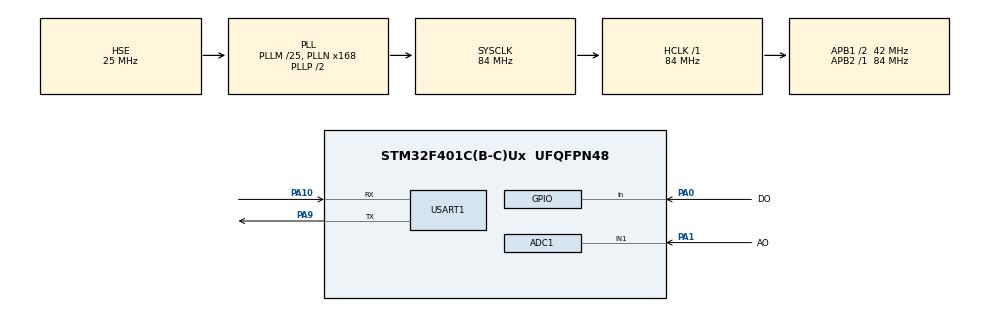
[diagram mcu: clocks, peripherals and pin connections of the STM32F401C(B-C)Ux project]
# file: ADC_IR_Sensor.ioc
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ADC1.Channel-0\#ChannelRegularConversion=ADC_CHANNEL_1
ADC1.ContinuousConvMode=ENABLE
ADC1.EOCSelection=ADC_EOC_SEQ_CONV
ADC1.NbrOfConversionFlag=1
ADC1.Rank-0\#ChannelRegularConversion=1
ADC1.SamplingTime-0\#ChannelRegularConversion=ADC_SAMPLETIME_480CYCLES
ADC1.master=1
Mcu.Family=STM32F4
Mcu.Name=STM32F401C(B-C)Ux
Mcu.Package=UFQFPN48
NVIC.PriorityGroup=NVIC_PRIORITYGROUP_4
PA0-WKUP.GPIO_Label=DO
PA0-WKUP.Signal=GPIO_Input
PA1.GPIO_Label=AO
PA1.Signal=ADCx_IN1
PA10.Mode=Asynchronous
PA10.Signal=USART1_RX
PA13.Mode=Serial_Wire
PA13.Signal=SYS_JTMS-SWDIO
PA14.Mode=Serial_Wire
PA14.Signal=SYS_JTCK-SWCLK
PA9.Mode=Asynchronous
PA9.Signal=USART1_TX
PH0\ -\ OSC_IN.Mode=HSE-External-Oscillator
PH0\ -\ OSC_IN.Signal=RCC_OSC_IN
PH1\ -\ OSC_OUT.Mode=HSE-External-Oscillator
PH1\ -\ OSC_OUT.Signal=RCC_OSC_OUT
ProjectManager.HeapSize=0x200
ProjectManager.StackSize=0x400
ProjectManager.TargetToolchain=STM32CubeIDE
RCC.48MHZClocksFreq_Value=42000000
RCC.AHBFreq_Value=84000000
RCC.APB1CLKDivider=RCC_HCLK_DIV2
RCC.APB1Freq_Value=42000000
RCC.APB1TimFreq_Value=84000000
RCC.APB2Freq_Value=84000000
RCC.APB2TimFreq_Value=84000000
RCC.CortexFreq_Value=84000000
RCC.HCLKFreq_Value=84000000
RCC.HSE_VALUE=25000000
RCC.HSI_VALUE=16000000
RCC.LSE_VALUE=32768
RCC.PLLM=25
RCC.PLLN=168
RCC.PLLSourceVirtual=RCC_PLLSOURCE_HSE
RCC.SYSCLKFreq_VALUE=84000000
RCC.SYSCLKSource=RCC_SYSCLKSOURCE_PLLCLK
RCC.VCOOutputFreq_Value=168000000
SH.ADCx_IN1.0=ADC1_IN1,IN1
USART1.VirtualMode=VM_ASYNC
board=custom

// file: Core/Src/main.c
/* USER CODE BEGIN Header */
/**
  ******************************************************************************
  * @file           : main.c
  * @brief          : Main program body
  ******************************************************************************
  * @attention
  *
  * <h2><center>&copy; Copyright (c) 2021 STMicroelectronics.
  * All rights reserved.</center></h2>
  *
  * This software component is licensed by ST under BSD 3-Clause license,
  * the "License"; You may not use this file except in compliance with the
  * License. You may obtain a copy of the License at:
  *                        opensource.org/licenses/BSD-3-Clause
  *
  ******************************************************************************
  */
/* USER CODE END Header */
#include "main.h"

/* USER CODE BEGIN Includes */
#include <stdio.h>     // sprintf()
/* USER CODE END Includes */

/* USER CODE BEGIN PD */
#define ADC_MAX 4095   // 12-bit
#define V_REF 3.3      // 3.3V
/* USER CODE END PD */

ADC_HandleTypeDef hadc1;

UART_HandleTypeDef huart1;

/* USER CODE BEGIN PV */
uint16_t adcValue = 0;
float voltage = 0.0;
char msg[30] = {0};
/* USER CODE END PV */

void SystemClock_Config(void);
static void MX_GPIO_Init(void);
static void MX_ADC1_Init(void);
static void MX_USART1_UART_Init(void);

int main(void)
{

  /* MCU Configuration--------------------------------------------------------*/

  /* Reset of all peripherals, Initializes the Flash interface and the Systick. */
  HAL_Init();

  /* Configure the system clock */
  SystemClock_Config();

  /* Initialize all configured peripherals */
  MX_GPIO_Init();
  MX_ADC1_Init();
  MX_USART1_UART_Init();
  /* USER CODE BEGIN 2 */
  if (HAL_ADC_Start(&hadc1) != HAL_OK)
	Error_Handler();
  /* USER CODE END 2 */

  /* Infinite loop */
  while (1)
  {

    /* USER CODE BEGIN 3 */
	HAL_ADC_PollForConversion(&hadc1, 100);
	adcValue = HAL_ADC_GetValue(&hadc1);
	voltage = adcValue * V_REF / ADC_MAX;

	sprintf(msg, "ADC Value = %d    ", adcValue);
	HAL_UART_Transmit(&huart1, (uint8_t *)msg, sizeof(msg), HAL_MAX_DELAY);

	sprintf(msg, "Analog Output = %.2fV    ", voltage);
	HAL_UART_Transmit(&huart1, (uint8_t *)msg, sizeof(msg), HAL_MAX_DELAY);

	sprintf(msg, "Digital Output = %d\r\n", HAL_GPIO_ReadPin(DO_GPIO_Port, DO_Pin));
	HAL_UART_Transmit(&huart1, (uint8_t *)msg, sizeof(msg), HAL_MAX_DELAY);
	HAL_Delay(1000);
  }
  /* USER CODE END 3 */
}

void SystemClock_Config(void)
{
  RCC_OscInitTypeDef RCC_OscInitStruct = {0};
  RCC_ClkInitTypeDef RCC_ClkInitStruct = {0};

  /** Configure the main internal regulator output voltage
  */
  __HAL_RCC_PWR_CLK_ENABLE();
  __HAL_PWR_VOLTAGESCALING_CONFIG(PWR_REGULATOR_VOLTAGE_SCALE2);
  /** Initializes the RCC Oscillators according to the specified parameters
  * in the RCC_OscInitTypeDef structure.
  */
  RCC_OscInitStruct.OscillatorType = RCC_OSCILLATORTYPE_HSE;
  RCC_OscInitStruct.HSEState = RCC_HSE_ON;
  RCC_OscInitStruct.PLL.PLLState = RCC_PLL_ON;
  RCC_OscInitStruct.PLL.PLLSource = RCC_PLLSOURCE_HSE;
  RCC_OscInitStruct.PLL.PLLM = 25;
  RCC_OscInitStruct.PLL.PLLN = 168;
  RCC_OscInitStruct.PLL.PLLP = RCC_PLLP_DIV2;
  RCC_OscInitStruct.PLL.PLLQ = 4;
  if (HAL_RCC_OscConfig(&RCC_OscInitStruct) != HAL_OK)
  {
    Error_Handler();
  }
  /** Initializes the CPU, AHB and APB buses clocks
  */
  RCC_ClkInitStruct.ClockType = RCC_CLOCKTYPE_HCLK|RCC_CLOCKTYPE_SYSCLK
                              |RCC_CLOCKTYPE_PCLK1|RCC_CLOCKTYPE_PCLK2;
  RCC_ClkInitStruct.SYSCLKSource = RCC_SYSCLKSOURCE_PLLCLK;
  RCC_ClkInitStruct.AHBCLKDivider = RCC_SYSCLK_DIV1;
  RCC_ClkInitStruct.APB1CLKDivider = RCC_HCLK_DIV2;
  RCC_ClkInitStruct.APB2CLKDivider = RCC_HCLK_DIV1;

  if (HAL_RCC_ClockConfig(&RCC_ClkInitStruct, FLASH_LATENCY_2) != HAL_OK)
  {
    Error_Handler();
  }
}

static void MX_ADC1_Init(void)
{

  ADC_ChannelConfTypeDef sConfig = {0};

  /** Configure the global features of the ADC (Clock, Resolution, Data Alignment and number of conversion)
  */
  hadc1.Instance = ADC1;
  hadc1.Init.ClockPrescaler = ADC_CLOCK_SYNC_PCLK_DIV4;
  hadc1.Init.Resolution = ADC_RESOLUTION_12B;
  hadc1.Init.ScanConvMode = DISABLE;
  hadc1.Init.ContinuousConvMode = ENABLE;
  hadc1.Init.DiscontinuousConvMode = DISABLE;
  hadc1.Init.ExternalTrigConvEdge = ADC_EXTERNALTRIGCONVEDGE_NONE;
  hadc1.Init.ExternalTrigConv = ADC_SOFTWARE_START;
  hadc1.Init.DataAlign = ADC_DATAALIGN_RIGHT;
  hadc1.Init.NbrOfConversion = 1;
  hadc1.Init.DMAContinuousRequests = DISABLE;
  hadc1.Init.EOCSelection = ADC_EOC_SEQ_CONV;
  if (HAL_ADC_Init(&hadc1) != HAL_OK)
  {
    Error_Handler();
  }
  /** Configure for the selected ADC regular channel its corresponding rank in the sequencer and its sample time.
  */
  sConfig.Channel = ADC_CHANNEL_1;
  sConfig.Rank = 1;
  sConfig.SamplingTime = ADC_SAMPLETIME_480CYCLES;
  if (HAL_ADC_ConfigChannel(&hadc1, &sConfig) != HAL_OK)
  {
    Error_Handler();
  }

}

static void MX_USART1_UART_Init(void)
{

  huart1.Instance = USART1;
  huart1.Init.BaudRate = 115200;
  huart1.Init.WordLength = UART_WORDLENGTH_8B;
  huart1.Init.StopBits = UART_STOPBITS_1;
  huart1.Init.Parity = UART_PARITY_NONE;
  huart1.Init.Mode = UART_MODE_TX_RX;
  huart1.Init.HwFlowCtl = UART_HWCONTROL_NONE;
  huart1.Init.OverSampling = UART_OVERSAMPLING_16;
  if (HAL_UART_Init(&huart1) != HAL_OK)
  {
    Error_Handler();
  }

}

static void MX_GPIO_Init(void)
{
  GPIO_InitTypeDef GPIO_InitStruct = {0};

  /* GPIO Ports Clock Enable */
  __HAL_RCC_GPIOH_CLK_ENABLE();
  __HAL_RCC_GPIOA_CLK_ENABLE();

  /*Configure GPIO pin : DO_Pin */
  GPIO_InitStruct.Pin = DO_Pin;
  GPIO_InitStruct.Mode = GPIO_MODE_INPUT;
  GPIO_InitStruct.Pull = GPIO_NOPULL;
  HAL_GPIO_Init(DO_GPIO_Port, &GPIO_InitStruct);

}

void Error_Handler(void)
{
  __disable_irq();
  while (1)
  {
  }
}

/************************ (C) COPYRIGHT STMicroelectronics *****END OF FILE****/
